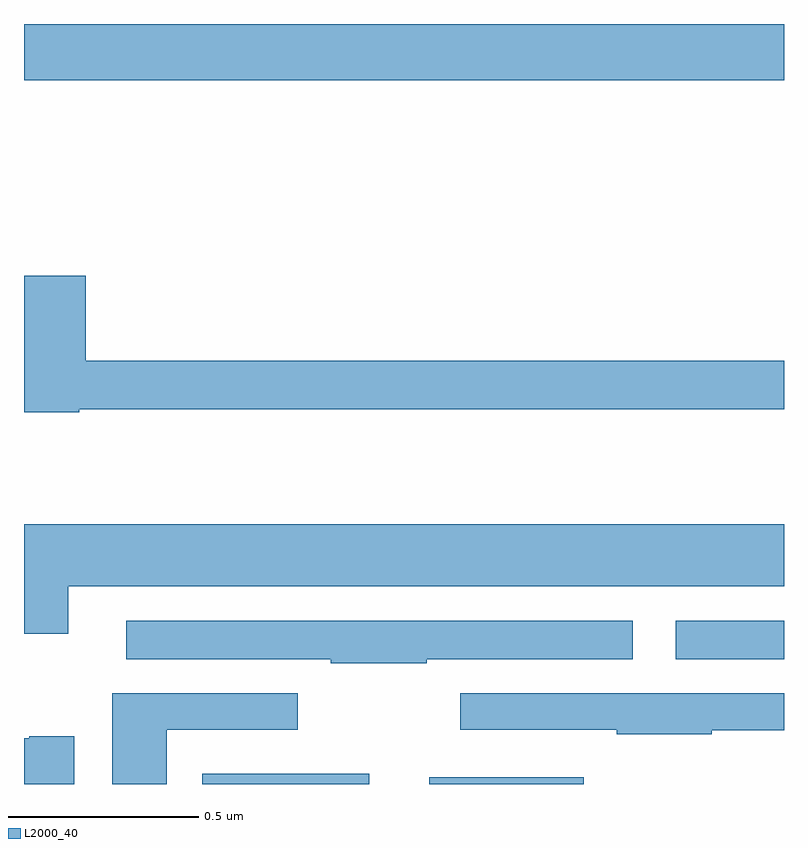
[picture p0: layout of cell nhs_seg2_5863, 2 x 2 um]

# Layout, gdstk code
import gdstk
lib = gdstk.Library(unit=1e-6, precision=1e-09)
def R(c, l, rs):  # rectangles x0, y0, x1, y1
    for r in rs: c.add(gdstk.rectangle(r[:2], r[2:], *l))
def P(c, l, *ps):  # polygons
    for p in ps: c.add(gdstk.Polygon(p, *l))
L2000_40 = (2000, 40)

nhs_seg2_5863 = lib.new_cell('nhs_seg2_5863')
R(nhs_seg2_5863, L2000_40, [(184.469,629.8,184.909,629.827), (185.066,629.8,185.473,629.818), (185.715,630.128,186,630.229), (184,631.652,186,631.8)])
P(nhs_seg2_5863, L2000_40, [(184.146,630.786),(186,630.786),(186,630.914),(184.163,630.914),(184.163,631.138),(184,631.138),(184,630.778),(184.146,630.778)],
  [(184.117,630.32),(186,630.32),(186,630.484),(184,630.484),(184,630.196),(184.117,630.196)],
  [(185.06,630.128),(185.602,630.128),(185.602,630.229),(184.269,630.229),(184.269,630.128),(184.807,630.128),(184.807,630.118),(185.06,630.118)],
  [(184.375,629.943),(184.72,629.943),(184.72,630.039),(184.232,630.039),(184.232,629.8),(184.375,629.8)],
  [(185.81,629.942),(186,629.942),(186,630.039),(185.148,630.039),(185.148,629.943),(185.56,629.943),(185.56,629.931),(185.81,629.931)],
  [(184.132,629.926),(184.014,629.926),(184.014,629.92),(184,629.92),(184,629.8),(184.132,629.8)])

lib.write_gds('nhs_seg2_5863.gds')
